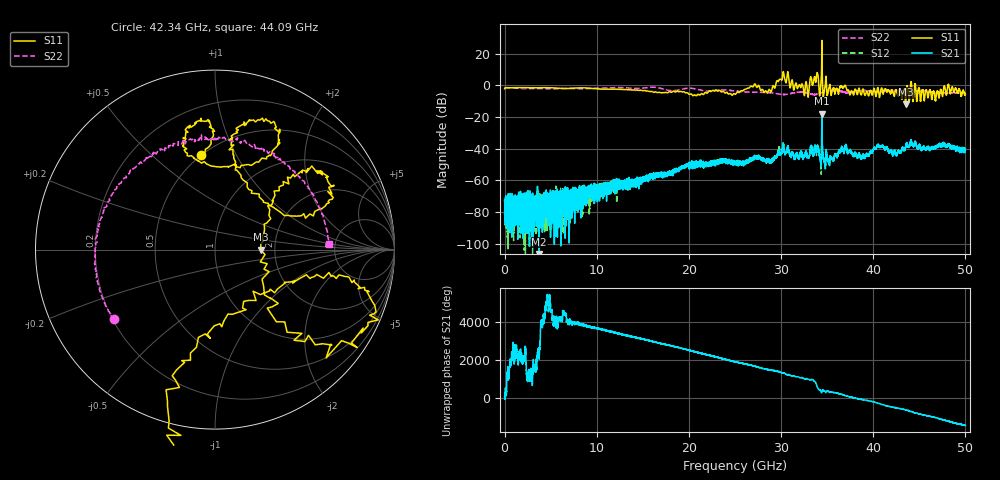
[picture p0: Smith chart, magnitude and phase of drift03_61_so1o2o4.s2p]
!Created with skrf (http://scikit-rf.org).
# Hz S RI R 50.0
!freq ReS11 ImS11 ReS21 ImS21 ReS12 ImS12 ReS22 ImS22
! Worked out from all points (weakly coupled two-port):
!   10000 points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, 5.3 MHz to 50 GHz, reference 50 ohm
!   highest |S21| = -17.75 dB at 34.43 GHz (marker M1); lowest = -106.5 dB at 3.755 GHz (marker M2)
!   lowest |S11| = -11.9 dB at 43.52 GHz (marker M3), VSWR 1.68, Z = 84.1 - j0.209 ohm
!   |S11| at or under -10 dB: 43.48725 GHz to 43.54363 GHz (56.39 MHz wide, 0.13 % of centre); 43.54789 GHz to 43.55129 GHz (3.408 MHz wide, 0.00783 % of centre); 43.89982 GHz to 43.90023 GHz (411 kHz wide, 0.000936 % of centre) (the widest 3 of 7)
!   |S22| runs from -5.8 to -1.1 dB; largest |S21 - S12| = 0.026
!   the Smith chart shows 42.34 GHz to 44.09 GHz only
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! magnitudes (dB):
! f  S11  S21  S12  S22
! 5.3 MHz  -2.1  -73.2  -81.8  -1.3
! 3.755 GHz  -1.4  -106.5  -80.4  -2.0
! 8.34 GHz  -1.5  -67.6  -68.9  -2.1
! 16.67 GHz  -4.4  -56.6  -56.2  -1.5
! 20.41 GHz  -6.4  -49.5  -49.4  -1.8
! 25.01 GHz  -5.5  -49.2  -48.9  -3.5
! 27.02 GHz  -0.3  -45.5  -45.0  -4.3
! 28.72 GHz  -2.5  -47.7  -48.6  -4.5
! 30.14 GHz  4.4  -41.1  -40.3  -5.7
! 32.74 GHz  2.0  -42.4  -41.8  -4.6
! 33.34 GHz  2.6  -39.5  -40.2  -5.5
! 33.82 GHz  4.0  -41.2  -41.7  -5.7
! 34.43 GHz  28.5  -17.7  -18.8  -4.6
! 35.3 GHz  0.5  -47.4  -46.9  -3.3
! 36.82 GHz  -0.9  -41.7  -41.9  -4.3
! 38.85 GHz  -2.7  -44.2  -43.7  -3.2
! 40.58 GHz  -3.2  -37.9  -37.8  -4.0
! 41.67 GHz  -2.9  -41.8  -42.1  -3.3
! 43.52 GHz  -11.9  -38.8  -38.5  -3.9
! 46.94 GHz  -3.8  -39.0  -38.6  -4.9
! 48.32 GHz  -4.5  -38.7  -38.1  -4.7
! 50 GHz  -5.1  -40.5  -40.7  -4.5
